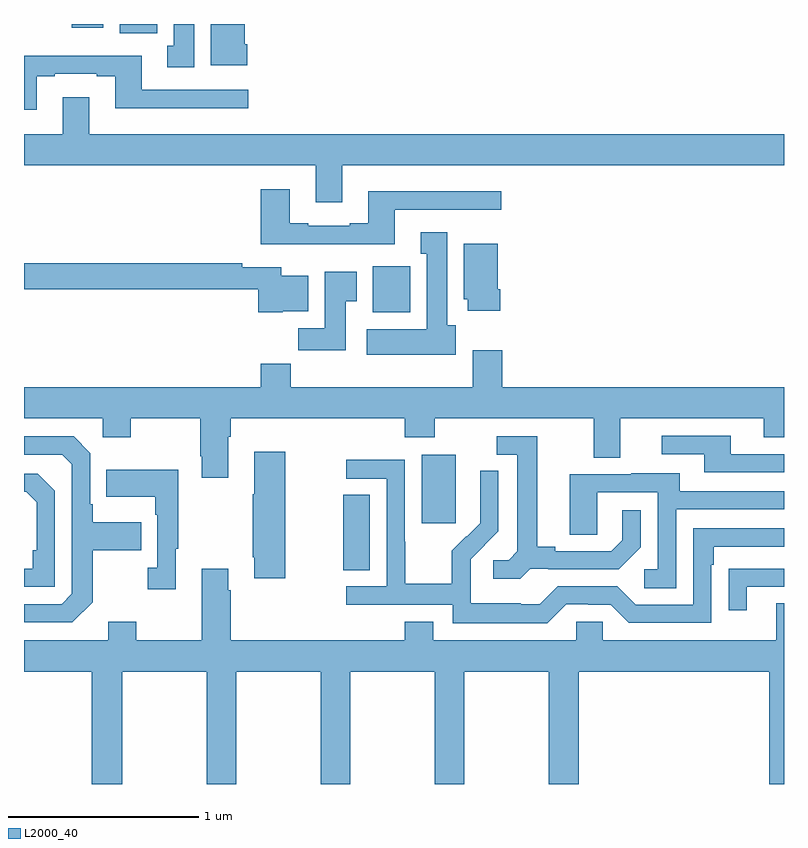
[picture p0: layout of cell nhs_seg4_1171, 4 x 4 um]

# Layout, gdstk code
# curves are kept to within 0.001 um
import gdstk
lib = gdstk.Library(unit=1e-6, precision=1e-09)
def R(c, l, rs):  # rectangles x0, y0, x1, y1
    for r in rs: c.add(gdstk.rectangle(r[:2], r[2:], *l))
def P(c, l, *ps):  # polygons
    for p in ps: c.add(gdstk.Polygon(p, *l))
L2000_40 = (2000, 40)

nhs_seg4_1171 = lib.new_cell('nhs_seg4_1171')
R(nhs_seg4_1171, L2000_40, [(172.681,792.025,172.819,792.422), (173.093,792.273,173.272,792.634), (172.835,793.382,173.032,793.624), (171.503,794.852,171.7,794.9), (171.251,794.88,171.418,794.9)])
P(nhs_seg4_1171, L2000_40, [(172.175,794.794),(172.162,794.794),(172.162,794.9),(171.984,794.9),(171.984,794.883),(171.983,794.883),(171.983,794.682),(172.175,794.682)],
  [(171.895,794.9),(171.788,794.9),(171.788,794.786),(171.755,794.786),(171.755,794.673),(171.895,794.673)],
  [(171.067,794.625),(171.163,794.625),(171.163,794.637),(171.383,794.637),(171.383,794.625),(171.479,794.625),(171.479,794.456),(172.18,794.456),(172.18,794.553),(171.619,794.553),(171.619,794.734),(171,794.734),(171,794.448),(171.067,794.448)],
  [(172.675,794.156),(175,794.156),(175,794.32),(171.343,794.32),(171.343,794.515),(171.203,794.515),(171.203,794.32),(171,794.32),(171,794.156),(172.535,794.156),(172.535,793.962),(172.675,793.962)],
  [(172.951,793.923),(173.512,793.923),(173.512,794.02),(172.811,794.02),(172.811,793.852),(172.715,793.852),(172.715,793.839),(172.495,793.839),(172.495,793.852),(172.399,793.852),(172.399,794.029),(172.247,794.029),(172.247,793.742),(172.951,793.742)],
  [(173.272,793.314),(173.227,793.314),(173.227,793.804),(173.087,793.804),(173.087,793.691),(173.12,793.691),(173.12,793.294),(172.803,793.294),(172.803,793.16),(173.272,793.16)],
  [(173.507,793.504),(173.494,793.504),(173.494,793.744),(173.315,793.744),(173.315,793.452),(173.336,793.452),(173.336,793.392),(173.507,793.392)],
  [(172.362,793.388),(172.495,793.388),(172.495,793.576),(172.354,793.576),(172.354,793.62),(172.148,793.62),(172.148,793.64),(171,793.64),(171,793.504),(172.232,793.504),(172.232,793.382),(172.362,793.382)],
  [(172.693,793.441),(172.75,793.441),(172.75,793.597),(172.583,793.597),(172.583,793.3),(172.444,793.3),(172.444,793.182),(172.693,793.182)],
  [(172.075,792.728),(172.088,792.728),(172.088,792.824),(173.003,792.824),(173.003,792.725),(173.163,792.725),(173.163,792.824),(173.999,792.824),(173.999,792.616),(174.139,792.616),(174.139,792.824),(174.893,792.824),(174.893,792.725),(175,792.725),(175,792.988),(173.516,792.988),(173.516,793.183),(173.363,793.183),(173.363,792.988),(172.403,792.988),(172.403,793.112),(172.247,793.112),(172.247,792.988),(171,792.988),(171,792.824),(171.414,792.824),(171.414,792.725),(171.561,792.725),(171.561,792.824),(171.928,792.824),(171.928,792.625),(171.935,792.625),(171.935,792.513),(172.075,792.513)],
  [(175,792.636),(174.721,792.636),(174.721,792.732),(174.357,792.732),(174.357,792.636),(174.581,792.636),(174.581,792.54),(175,792.54)],
  [(173.664,792.033),(173.758,792.033),(173.758,792.03),(174.13,792.03),(174.246,792.146),(174.246,792.34),(174.149,792.34),(174.149,792.183),(174.092,792.126),(173.797,792.126),(173.797,792.149),(173.701,792.149),(173.701,792.729),(173.487,792.729),(173.487,792.633),(173.597,792.633),(173.597,792.125),(173.55,792.078),(173.469,792.078),(173.469,791.981),(173.612,791.981)],
  [(171.361,791.857),(171.361,792.13),(171.617,792.13),(171.617,792.277),(171.361,792.277),(171.361,792.373),(171.348,792.373),(171.348,792.642),(171.261,792.729),(171,792.729),(171,792.633),(171.201,792.633),(171.252,792.582),(171.252,791.901),(171.198,791.847),(171,791.847),(171,791.751),(171.255,791.751)],
  [(172.374,792.649),(172.211,792.649),(172.211,792.425),(172.204,792.425),(172.204,792.094),(172.211,792.094),(172.211,791.982),(172.374,791.982)],
  [(173.853,791.847),(173.969,791.847),(173.969,791.844),(174.087,791.844),(174.183,791.748),(174.618,791.748),(174.618,792.053),(174.631,792.053),(174.631,792.15),(175,792.15),(175,792.246),(174.522,792.246),(174.522,791.844),(174.219,791.844),(174.123,791.94),(173.808,791.94),(173.715,791.847),(173.615,791.847),(173.615,791.851),(173.352,791.851),(173.352,791.985),(173.35,791.985),(173.35,792.082),(173.496,792.23),(173.496,792.548),(173.4,792.548),(173.4,792.394),(173.402,792.394),(173.402,792.272),(173.331,792.201),(173.328,792.204),(173.251,792.127),(173.251,791.953),(173.007,791.953),(173.007,792.176),(173.004,792.176),(173.004,792.606),(172.695,792.606),(172.695,792.507),(172.908,792.507),(172.908,791.94),(172.695,791.94),(172.695,791.844),(173.256,791.844),(173.256,791.747),(173.753,791.747)],
  [(171.799,792.137),(171.811,792.137),(171.811,792.553),(171.433,792.553),(171.433,792.413),(171.69,792.413),(171.69,792.317),(171.702,792.317),(171.702,792.038),(171.651,792.038),(171.651,791.925),(171.799,791.925)],
  [(174.432,792.345),(175,792.345),(175,792.441),(174.451,792.441),(174.451,792.535),(174.197,792.535),(174.197,792.531),(173.873,792.531),(173.873,792.211),(174.018,792.211),(174.018,792.435),(174.336,792.435),(174.336,792.03),(174.264,792.03),(174.264,791.929),(174.432,791.929)],
  [(171.162,792.444),(171.072,792.534),(171,792.534),(171,792.437),(171.013,792.437),(171.066,792.384),(171.066,792.13),(171.046,792.13),(171.046,792.033),(171,792.033),(171,791.937),(171.162,791.937)],
  [(171.516,791.492),(171.961,791.492),(171.961,790.9),(172.116,790.9),(172.116,791.492),(172.561,791.492),(172.561,790.9),(172.716,790.9),(172.716,791.492),(173.161,791.492),(173.161,790.9),(173.316,790.9),(173.316,791.492),(173.761,791.492),(173.761,790.9),(173.921,790.9),(173.921,791.492),(174.923,791.492),(174.923,790.9),(175,790.9),(175,791.851),(174.959,791.851),(174.959,791.656),(174.045,791.656),(174.045,791.754),(173.907,791.754),(173.907,791.656),(173.155,791.656),(173.155,791.755),(173.003,791.755),(173.003,791.656),(172.088,791.656),(172.088,791.921),(172.075,791.921),(172.075,792.034),(171.935,792.034),(171.935,791.656),(171.591,791.656),(171.591,791.755),(171.443,791.755),(171.443,791.656),(171,791.656),(171,791.492),(171.356,791.492),(171.356,790.9),(171.516,790.9)],
  [(174.805,791.937),(175,791.937),(175,792.033),(174.811,792.033),(174.811,792.032),(174.709,792.032),(174.709,791.814),(174.805,791.814)])

lib.write_gds('nhs_seg4_1171.gds')
